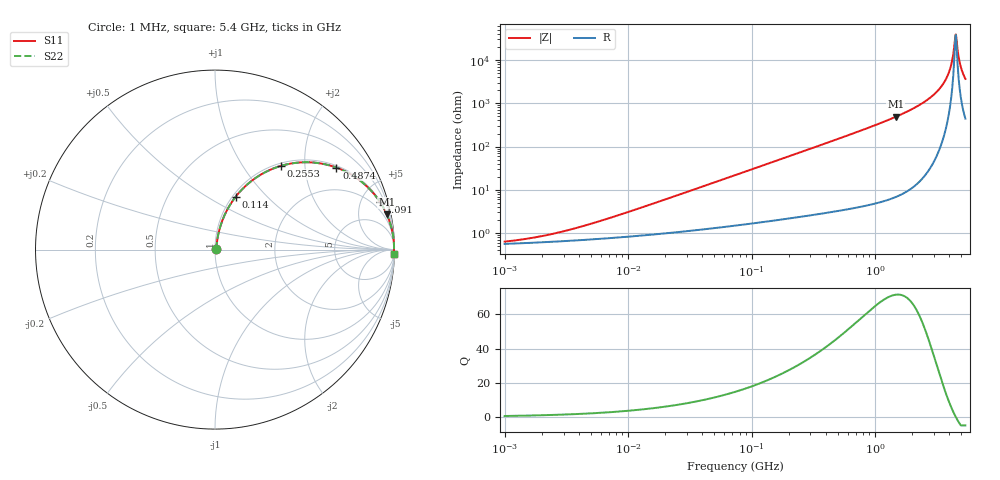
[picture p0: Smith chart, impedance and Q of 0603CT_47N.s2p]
# MHz  S  MA  R  50
!Freq  MagS11  AngS11  MagS21  AngS21  MagS12  AngS12  MagS22  AngS22
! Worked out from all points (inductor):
!   865 points, 1 MHz to 5.4 GHz, reference 50 ohm
!   read as one part in series: L = 47 nH near 8.001 MHz
!   highest Q = 71.5 at 1.471 GHz (marker M1), where L = 52.6 nH
!   self-resonance near 4.483 GHz
!   S11 on the Smith chart (normalised r, x): 1 MHz: 1.01, +0.01; 114 MHz: 1.03, +0.67; 255.3 MHz: 1.05, +1.51; 487.4 MHz: 1.06, +2.91; 1.091 GHz: 1.10, +6.85; 5.4 GHz: 10, -73
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1  0.006311 27.6  0.9944 -0.2  0.9944 -0.2  0.006311 27.6
2.006763  0.008471 43.7  0.9939 -0.3  0.9939 -0.3  0.008471 43.7
4.190616  0.01407 60.2  0.9931 -0.7  0.9931 -0.7  0.01407 60.2
17.56126  0.05216 76.7  0.9893 -2.9  0.9893 -2.9  0.05216 76.7
73.59249  0.2099 74.0  0.9635 -12.1  0.9635 -12.1  0.2099 74.0
114.0181  0.3148 68.7  0.933 -18.3  0.933 -18.3  0.3148 68.7
255.2732  0.5944 51.7  0.7856 -36.4  0.7856 -36.4  0.5944 51.7
308.3978  0.6659 46.6  0.7274 -41.7  0.7274 -41.7  0.6659 46.6
487.4101  0.8161 34.1  0.5602 -54.7  0.5602 -54.7  0.8161 34.1
1091.254  0.956 16.2  0.2793 -72.9  0.2793 -72.9  0.956 16.2
1292.377  0.9691 13.5  0.2331 -75.7  0.2331 -75.7  0.9691 13.5
1470.845  0.9768 11.6  0.201 -77.6  0.201 -77.6  0.9768 11.6
2443.189  0.9935 5.6  0.0973 -83.4  0.0973 -83.4  0.9935 5.6
3359.24  0.9971 2.6  0.0448 -85.1  0.0448 -85.1  0.9971 2.6
3710.691  0.9976 1.7  0.02949 -84.4  0.02949 -84.4  0.9976 1.7
3978.363  0.9977 1.1  0.01899 -82.5  0.01899 -82.5  0.9977 1.1
4181.299  0.9977 0.7  0.0116 -78.1  0.0116 -78.1  0.9977 0.7
4394.587  0.9976 0.2  0.004603 -58.2  0.004603 -58.2  0.9976 0.2
4482.919  0.9975 0.1  0.002646 -20.8  0.002646 -20.8  0.9975 0.1
4618.755  0.9974 -0.2  0.004364 53.6  0.004364 53.6  0.9974 -0.2
5001.45  0.997 -0.9  0.01572 78.5  0.01572 78.5  0.997 -0.9
5400  0.9964 -1.5  0.02721 81.6  0.02721 81.6  0.9964 -1.5
